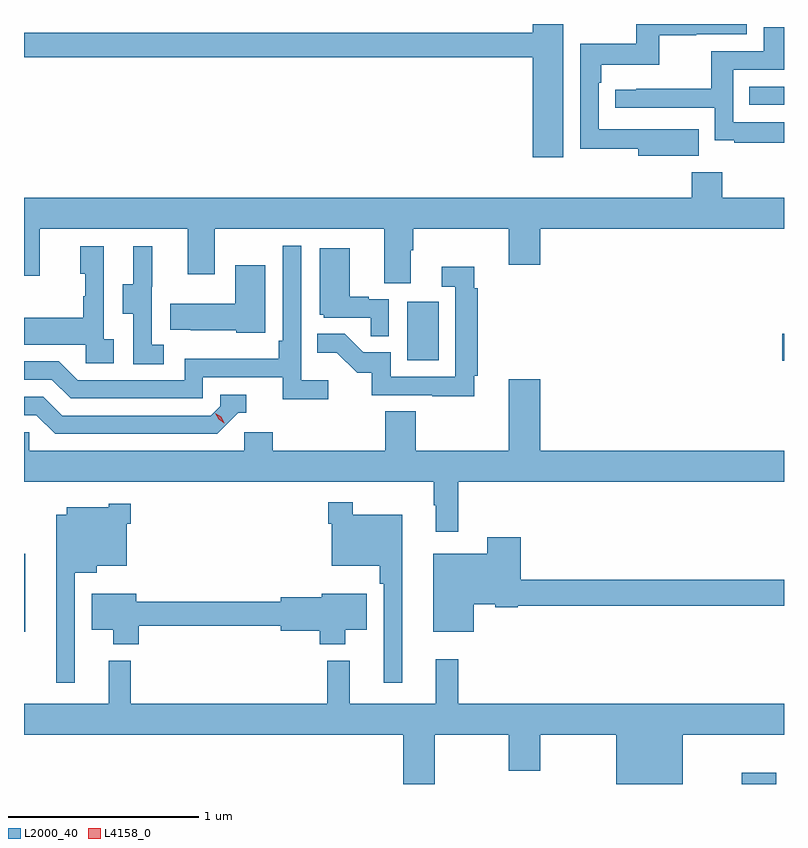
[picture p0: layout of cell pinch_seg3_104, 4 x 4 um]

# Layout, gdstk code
import gdstk
lib = gdstk.Library(unit=1e-6, precision=1e-09)
def R(c, l, rs):  # rectangles x0, y0, x1, y1
    for r in rs: c.add(gdstk.rectangle(r[:2], r[2:], *l))
def P(c, l, *ps):  # polygons
    for p in ps: c.add(gdstk.Polygon(p, *l))
L2000_40 = (2000, 40)
L4158_0 = (4158, 0)

pinch_seg3_104 = lib.new_cell('pinch_seg3_104')
R(pinch_seg3_104, L2000_40, [(1029.369,717.974,1029.55,718.033), (1025.592,718.775,1025.599,719.185), (1029.582,720.202,1029.592,720.344), (1027.61,720.204,1027.774,720.511), (1029.409,721.548,1029.592,721.644)])
P(pinch_seg3_104, L2000_40, [(1028.431,721.974),(1028.27,721.974),(1028.27,721.927),(1025.592,721.927),(1025.592,721.798),(1028.27,721.798),(1028.27,721.272),(1028.431,721.272)],
  [(1029.143,721.42),(1028.929,721.42),(1028.929,721.419),(1028.616,721.419),(1028.616,721.664),(1028.63,721.664),(1028.63,721.76),(1028.935,721.76),(1028.935,721.915),(1029.131,721.915),(1029.131,721.92),(1029.396,721.92),(1029.396,721.974),(1028.814,721.974),(1028.814,721.87),(1028.52,721.87),(1028.52,721.318),(1028.825,721.318),(1028.825,721.28),(1029.143,721.28)],
  [(1029.592,721.458),(1029.324,721.458),(1029.324,721.734),(1029.592,721.734),(1029.592,721.958),(1029.485,721.958),(1029.485,721.83),(1029.208,721.83),(1029.208,721.634),(1028.815,721.634),(1028.815,721.629),(1028.703,721.629),(1028.703,721.533),(1029.228,721.533),(1029.228,721.361),(1029.331,721.361),(1029.331,721.35),(1029.592,721.35)],
  [(1027.627,720.784),(1027.64,720.784),(1027.64,720.896),(1028.144,720.896),(1028.144,720.708),(1028.308,720.708),(1028.308,720.896),(1029.592,720.896),(1029.592,721.06),(1029.267,721.06),(1029.267,721.195),(1029.107,721.195),(1029.107,721.06),(1025.592,721.06),(1025.592,720.648),(1025.675,720.648),(1025.675,720.896),(1026.455,720.896),(1026.455,720.657),(1026.595,720.657),(1026.595,720.896),(1027.487,720.896),(1027.487,720.61),(1027.627,720.61)],
  [(1027.192,720.1),(1027.05,720.1),(1027.05,720.808),(1026.954,720.808),(1026.954,720.307),(1026.934,720.307),(1026.934,720.211),(1026.438,720.211),(1026.438,720.099),(1025.874,720.099),(1025.775,720.198),(1025.592,720.198),(1025.592,720.102),(1025.738,720.102),(1025.837,720.003),(1026.534,720.003),(1026.534,720.114),(1026.953,720.114),(1026.953,719.998),(1027.192,719.998)],
  [(1026.064,720.314),(1026.012,720.314),(1026.012,720.805),(1025.888,720.805),(1025.888,720.66),(1025.914,720.66),(1025.914,720.542),(1025.904,720.542),(1025.904,720.427),(1025.592,720.427),(1025.592,720.287),(1025.916,720.287),(1025.916,720.189),(1026.064,720.189)],
  [(1026.328,720.287),(1026.264,720.287),(1026.264,720.591),(1026.266,720.591),(1026.266,720.805),(1026.167,720.805),(1026.167,720.603),(1026.113,720.603),(1026.113,720.448),(1026.168,720.448),(1026.168,720.184),(1026.328,720.184)],
  [(1027.512,720.525),(1027.406,720.525),(1027.406,720.538),(1027.306,720.538),(1027.306,720.793),(1027.148,720.793),(1027.148,720.444),(1027.17,720.444),(1027.17,720.429),(1027.417,720.429),(1027.417,720.331),(1027.512,720.331)],
  [(1026.862,720.703),(1026.704,720.703),(1026.704,720.502),(1026.361,720.502),(1026.361,720.365),(1026.469,720.365),(1026.469,720.362),(1026.708,720.362),(1026.708,720.35),(1026.862,720.35)],
  [(1027.961,720.124),(1027.979,720.124),(1027.979,720.584),(1027.961,720.584),(1027.961,720.697),(1027.791,720.697),(1027.791,720.591),(1027.863,720.591),(1027.863,720.117),(1027.521,720.117),(1027.521,720.246),(1027.377,720.246),(1027.279,720.344),(1027.135,720.344),(1027.135,720.245),(1027.239,720.245),(1027.346,720.138),(1027.423,720.138),(1027.423,720.021),(1027.741,720.021),(1027.741,720.016),(1027.961,720.016)],
  [(1027.877,719.564),(1029.592,719.564),(1029.592,719.728),(1028.308,719.728),(1028.308,720.103),(1028.144,720.103),(1028.144,719.728),(1027.653,719.728),(1027.653,719.936),(1027.493,719.936),(1027.493,719.728),(1026.902,719.728),(1026.902,719.826),(1026.75,719.826),(1026.75,719.728),(1025.619,719.728),(1025.619,719.826),(1025.592,719.826),(1025.592,719.564),(1027.749,719.564),(1027.749,719.441),(1027.76,719.441),(1027.76,719.301),(1027.877,719.301)],
  [(1026.72,719.928),(1026.763,719.928),(1026.763,720.024),(1026.624,720.024),(1026.624,719.961),(1026.576,719.913),(1025.793,719.913),(1025.694,720.012),(1025.592,720.012),(1025.592,719.916),(1025.657,719.916),(1025.756,719.817),(1026.609,719.817)],
  [(1027.582,719.392),(1027.321,719.392),(1027.321,719.458),(1027.192,719.458),(1027.192,719.345),(1027.212,719.345),(1027.212,719.123),(1027.465,719.123),(1027.465,719.027),(1027.485,719.027),(1027.485,718.506),(1027.582,718.506)],
  [(1025.859,719.087),(1025.974,719.087),(1025.974,719.123),(1026.133,719.123),(1026.133,719.345),(1026.155,719.345),(1026.155,719.449),(1026.039,719.449),(1026.039,719.431),(1025.816,719.431),(1025.816,719.392),(1025.762,719.392),(1025.762,718.506),(1025.859,718.506)],
  [(1027.96,718.919),(1028.073,718.919),(1028.073,718.904),(1028.19,718.904),(1028.19,718.912),(1029.592,718.912),(1029.592,719.048),(1028.207,719.048),(1028.207,719.272),(1028.029,719.272),(1028.029,719.185),(1027.745,719.185),(1027.745,718.775),(1027.96,718.775)],
  [(1026.197,718.806),(1026.944,718.806),(1026.944,718.78),(1027.148,718.78),(1027.148,718.709),(1027.282,718.709),(1027.282,718.787),(1027.396,718.787),(1027.396,718.975),(1027.16,718.975),(1027.16,718.958),(1026.944,718.958),(1026.944,718.934),(1026.184,718.934),(1026.184,718.975),(1025.948,718.975),(1025.948,718.787),(1026.062,718.787),(1026.062,718.709),(1026.197,718.709)],
  [(1027.753,718.232),(1028.144,718.232),(1028.144,718.044),(1028.308,718.044),(1028.308,718.232),(1028.708,718.232),(1028.708,717.974),(1029.058,717.974),(1029.058,718.232),(1029.592,718.232),(1029.592,718.396),(1027.877,718.396),(1027.877,718.63),(1027.76,718.63),(1027.76,718.396),(1027.307,718.396),(1027.307,718.624),(1027.189,718.624),(1027.189,718.396),(1026.155,718.396),(1026.155,718.624),(1026.038,718.624),(1026.038,718.396),(1025.592,718.396),(1025.592,718.232),(1027.589,718.232),(1027.589,717.974),(1027.753,717.974)])
P(pinch_seg3_104, L4158_0, [(1026.646,719.874),(1026.616,719.894),(1026.599,719.926),(1026.599,719.926),(1026.599,719.926),(1026.63,719.907),(1026.647,719.874),(1026.647,719.874)])

lib.write_gds('pinch_seg3_104.gds')
